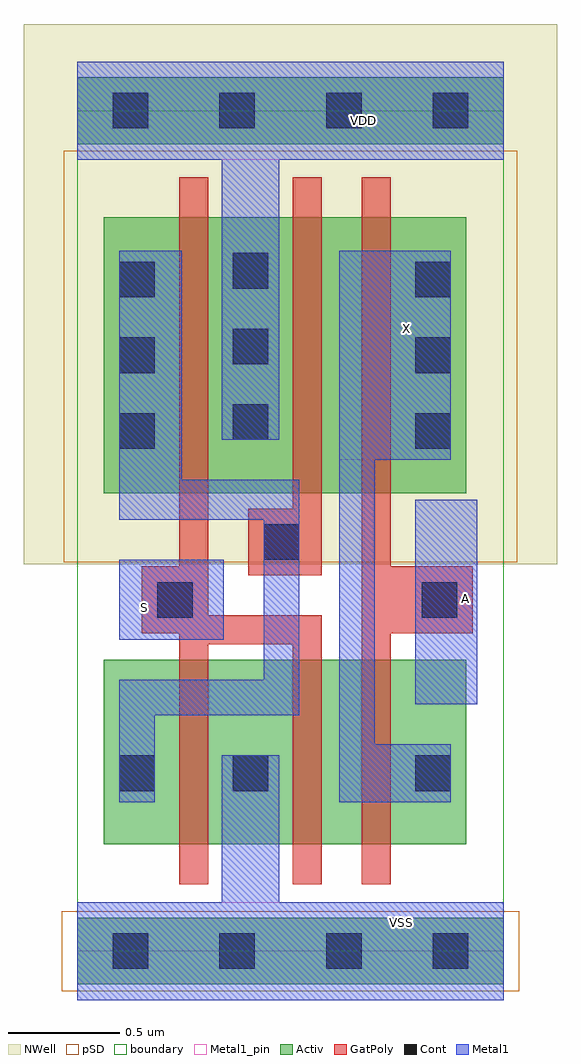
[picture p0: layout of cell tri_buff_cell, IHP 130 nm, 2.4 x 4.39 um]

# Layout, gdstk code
import gdstk
lib = gdstk.Library(unit=1e-6, precision=1e-09)
def R(c, l, rs):  # rectangles x0, y0, x1, y1
    for r in rs: c.add(gdstk.rectangle(r[:2], r[2:], *l))
def A(c, l, x, y, w, h, nx, ny, dx, dy):  # array of equal rectangles
    R(c, l, [(x+i*dx, y+j*dy, x+i*dx+w, y+j*dy+h) for i in range(nx) for j in range(ny)])
def P(c, l, *ps):  # polygons
    for p in ps: c.add(gdstk.Polygon(p, *l))
Activ = (1, 0)
GatPoly = (5, 0)
Cont = (6, 0)
Metal1 = (8, 0)
Metal1_pin = (8, 2)
pSD = (14, 0)
NWell = (31, 0)
boundary = (189, 4)

tri_buff_cell = lib.new_cell('tri_buff_cell')
R(tri_buff_cell, Activ, [(0,-0.15,1.92,0.15), (0.12,0.48,1.75,1.31), (0.12,2.06,1.75,3.3), (0,3.63,1.92,3.93)])
P(tri_buff_cell, GatPoly, [(0.46,0.3),(0.46,1.43),(0.29,1.43),(0.29,1.73),(0.46,1.73),(0.46,3.48),(0.59,3.48),(0.59,1.51),(1.1,1.51),(1.1,0.3),(0.97,0.3),(0.97,1.38),(0.59,1.38),(0.59,0.3)],
  [(0.77,1.69),(0.77,1.99),(0.97,1.99),(0.97,3.48),(1.1,3.48),(1.1,1.69)],
  [(1.28,0.3),(1.28,3.48),(1.41,3.48),(1.41,1.73),(1.78,1.73),(1.78,1.43),(1.41,1.43),(1.41,0.3)])
A(tri_buff_cell, Cont, 0.16, -0.08, 0.16, 0.16, 4, 2, 0.48, 3.78)
A(tri_buff_cell, Cont, 0.19, 2.26, 0.16, 0.16, 1, 3, 0, 0.34)
A(tri_buff_cell, Cont, 1.52, 2.26, 0.16, 0.16, 1, 3, 0, 0.34)
A(tri_buff_cell, Cont, 0.7, 2.3, 0.16, 0.16, 1, 3, 0, 0.34)
R(tri_buff_cell, Cont, [(0.19,0.72,0.35,0.88), (0.7,0.72,0.86,0.88), (1.52,0.72,1.68,0.88), (0.36,1.5,0.52,1.66), (1.55,1.5,1.71,1.66), (0.84,1.76,1,1.92)])
R(tri_buff_cell, Metal1, [(1.52,1.11,1.8,2.03), (0.19,1.4,0.66,1.76)])
P(tri_buff_cell, Metal1, [(0,-0.22),(0,0.22),(0.65,0.22),(0.65,0.88),(0.91,0.88),(0.91,0.22),(1.92,0.22),(1.92,-0.22)],
  [(0.19,0.67),(0.19,1.22),(0.84,1.22),(0.84,1.94),(0.19,1.94),(0.19,3.15),(0.47,3.15),(0.47,2.12),(1,2.12),(1,1.06),(0.35,1.06),(0.35,0.67)],
  [(1.18,0.67),(1.18,3.15),(1.68,3.15),(1.68,2.21),(1.34,2.21),(1.34,0.93),(1.68,0.93),(1.68,0.67)],
  [(0.65,2.3),(0.65,3.56),(0,3.56),(0,4),(1.92,4),(1.92,3.56),(0.91,3.56),(0.91,2.3)])
R(tri_buff_cell, Metal1_pin, [(0,-0.22,1.92,0.22), (1.52,1.11,1.8,2.03), (0.19,1.4,0.66,1.76), (1.18,2.21,1.68,3.15), (0,3.56,1.92,4)])
R(tri_buff_cell, pSD, [(-0.07,-0.18,1.99,0.18), (-0.06,1.75,1.98,3.6)])
R(tri_buff_cell, NWell, [(-0.24,1.74,2.16,4.17)])
R(tri_buff_cell, boundary, [(0,0,1.92,3.78)])
tri_buff_cell.add(gdstk.Label('VSS', (1.46,0.13), layer=8, texttype=25))
tri_buff_cell.add(gdstk.Label('S', (0.305,1.545), layer=8, texttype=25))
tri_buff_cell.add(gdstk.Label('A', (1.745,1.585), layer=8, texttype=25))
tri_buff_cell.add(gdstk.Label('X', (1.48,2.8), layer=8, texttype=25))
tri_buff_cell.add(gdstk.Label('VDD', (1.29,3.735), layer=8, texttype=25))

lib.write_gds('tri_buff_cell.gds')
